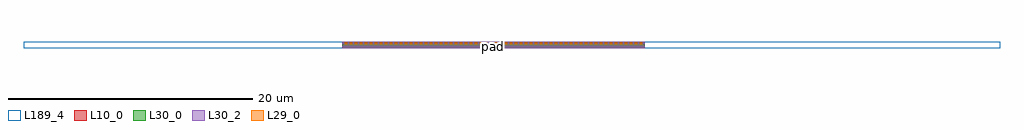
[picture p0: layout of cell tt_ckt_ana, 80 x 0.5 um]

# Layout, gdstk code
import gdstk
lib = gdstk.Library(unit=1e-6, precision=1e-09)
def R(c, l, rs):  # rectangles x0, y0, x1, y1
    for r in rs: c.add(gdstk.rectangle(r[:2], r[2:], *l))
def A(c, l, x, y, w, h, nx, ny, dx, dy):  # array of equal rectangles
    R(c, l, [(x+i*dx, y+j*dy, x+i*dx+w, y+j*dy+h) for i in range(nx) for j in range(ny)])
L10_0 = (10, 0)
L29_0 = (29, 0)
L30_0 = (30, 0)
L30_2 = (30, 2)
L189_4 = (189, 4)

tt_ckt_ana = lib.new_cell('tt_ckt_ana')
R(tt_ckt_ana, L10_0, [(26.105,0,50.875,0.5)])
A(tt_ckt_ana, L29_0, 26.3, 0.305, 0.19, 0.19, 60, 1, 0.41, 0)
R(tt_ckt_ana, L30_0, [(26.105,0,50.875,0.5)])
R(tt_ckt_ana, L30_2, [(26.105,0,50.875,0.2), (26.105,0.3,50.875,0.5)])
R(tt_ckt_ana, L189_4, [(0,0,80,0.5)])
tt_ckt_ana.add(gdstk.Label('pad', (38.49,0.1), layer=30, texttype=25))
tt_ckt_ana.add(gdstk.Label('analog', (38.49,0.4), layer=30, texttype=25))

lib.write_gds('tt_ckt_ana.gds')
